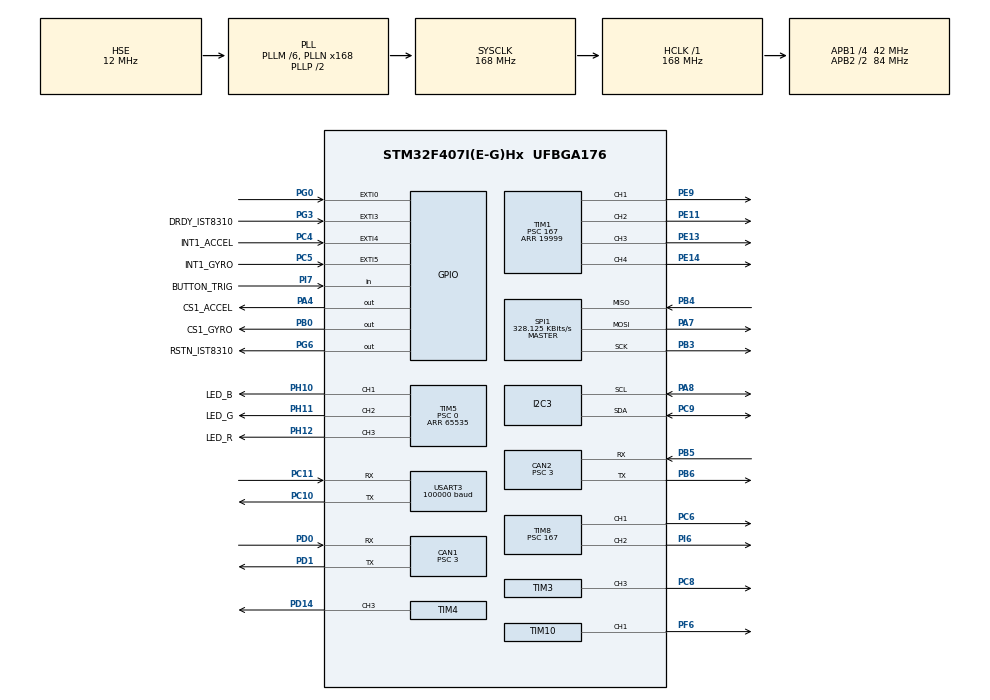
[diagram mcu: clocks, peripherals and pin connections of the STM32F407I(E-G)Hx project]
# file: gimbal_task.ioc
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CAN1.BS1=CAN_BS1_10TQ
CAN1.BS2=CAN_BS2_3TQ
CAN1.CalculateTimeQuantum=71.42857142857143
CAN1.Prescaler=3
CAN2.BS1=CAN_BS1_10TQ
CAN2.BS2=CAN_BS2_3TQ
CAN2.CalculateTimeQuantum=71.42857142857143
CAN2.Prescaler=3
Dma.Request0=SPI1_RX
Dma.Request1=SPI1_TX
Dma.Request2=USART3_RX
Dma.SPI1_RX.0.Direction=DMA_PERIPH_TO_MEMORY
Dma.SPI1_RX.0.FIFOMode=DMA_FIFOMODE_DISABLE
Dma.SPI1_RX.0.Instance=DMA2_Stream2
Dma.SPI1_RX.0.MemDataAlignment=DMA_MDATAALIGN_BYTE
Dma.SPI1_RX.0.MemInc=DMA_MINC_ENABLE
Dma.SPI1_RX.0.Mode=DMA_NORMAL
Dma.SPI1_RX.0.PeriphDataAlignment=DMA_PDATAALIGN_BYTE
Dma.SPI1_RX.0.PeriphInc=DMA_PINC_DISABLE
Dma.SPI1_RX.0.Priority=DMA_PRIORITY_VERY_HIGH
Dma.SPI1_TX.1.Direction=DMA_MEMORY_TO_PERIPH
Dma.SPI1_TX.1.FIFOMode=DMA_FIFOMODE_DISABLE
Dma.SPI1_TX.1.Instance=DMA2_Stream3
Dma.SPI1_TX.1.MemDataAlignment=DMA_MDATAALIGN_BYTE
Dma.SPI1_TX.1.MemInc=DMA_MINC_ENABLE
Dma.SPI1_TX.1.Mode=DMA_NORMAL
Dma.SPI1_TX.1.PeriphDataAlignment=DMA_PDATAALIGN_BYTE
Dma.SPI1_TX.1.PeriphInc=DMA_PINC_DISABLE
Dma.SPI1_TX.1.Priority=DMA_PRIORITY_HIGH
Dma.USART3_RX.2.Direction=DMA_PERIPH_TO_MEMORY
Dma.USART3_RX.2.FIFOMode=DMA_FIFOMODE_DISABLE
Dma.USART3_RX.2.Instance=DMA1_Stream1
Dma.USART3_RX.2.MemDataAlignment=DMA_MDATAALIGN_BYTE
Dma.USART3_RX.2.MemInc=DMA_MINC_ENABLE
Dma.USART3_RX.2.Mode=DMA_NORMAL
Dma.USART3_RX.2.PeriphDataAlignment=DMA_PDATAALIGN_BYTE
Dma.USART3_RX.2.PeriphInc=DMA_PINC_DISABLE
Dma.USART3_RX.2.Priority=DMA_PRIORITY_HIGH
FREERTOS.INCLUDE_eTaskGetState=1
FREERTOS.INCLUDE_pcTaskGetTaskName=1
FREERTOS.INCLUDE_uxTaskGetStackHighWaterMark=1
FREERTOS.INCLUDE_vTaskCleanUpResources=1
FREERTOS.INCLUDE_vTaskDelayUntil=1
FREERTOS.INCLUDE_xEventGroupSetBitFromISR=1
FREERTOS.INCLUDE_xQueueGetMutexHolder=1
FREERTOS.INCLUDE_xSemaphoreGetMutexHolder=1
FREERTOS.INCLUDE_xTaskAbortDelay=1
FREERTOS.INCLUDE_xTaskGetCurrentTaskHandle=1
FREERTOS.INCLUDE_xTaskGetHandle=1
FREERTOS.INCLUDE_xTimerPendFunctionCall=1
FREERTOS.Tasks01=test,24,128,test_task,As weak,NULL,Dynamic,NULL,NULL
FREERTOS.configTOTAL_HEAP_SIZE=24576
I2C3.I2C_Mode=I2C_Fast
Mcu.Family=STM32F4
Mcu.Name=STM32F407I(E-G)Hx
Mcu.Package=UFBGA176
NVIC.CAN1_RX0_IRQn=true\:6\:0\:true\:false\:true\:true\:true\:true
NVIC.CAN2_RX0_IRQn=true\:6\:0\:true\:false\:true\:true\:true\:true
NVIC.DMA1_Stream1_IRQn=true\:5\:0\:true\:false\:false\:true\:false\:false
NVIC.DMA2_Stream2_IRQn=true\:5\:0\:true\:false\:false\:true\:false\:true
NVIC.DMA2_Stream3_IRQn=true\:5\:0\:true\:false\:false\:true\:false\:true
NVIC.EXTI0_IRQn=true\:6\:0\:true\:false\:true\:true\:true\:true
NVIC.EXTI3_IRQn=true\:5\:0\:true\:false\:true\:true\:true\:true
NVIC.EXTI4_IRQn=true\:5\:0\:true\:false\:true\:true\:true\:true
NVIC.EXTI9_5_IRQn=true\:5\:0\:true\:false\:true\:true\:true\:true
NVIC.PriorityGroup=NVIC_PRIORITYGROUP_4
NVIC.USART3_IRQn=true\:4\:0\:true\:false\:false\:false\:true\:true
PA13.Mode=Serial_Wire
PA13.Signal=SYS_JTMS-SWDIO
PA14.Mode=Serial_Wire
PA14.Signal=SYS_JTCK-SWCLK
PA4.GPIO_Label=CS1_ACCEL
PA4.GPIO_PuPd=GPIO_PULLUP
PA4.GPIO_Speed=GPIO_SPEED_FREQ_HIGH
PA4.PinState=GPIO_PIN_SET
PA4.Signal=GPIO_Output
PA7.GPIO_PuPd=GPIO_PULLUP
PA7.Mode=Full_Duplex_Master
PA7.Signal=SPI1_MOSI
PA8.Mode=I2C
PA8.Signal=I2C3_SCL
PB0.GPIO_Label=CS1_GYRO
PB0.GPIO_PuPd=GPIO_PULLUP
PB0.GPIO_Speed=GPIO_SPEED_FREQ_HIGH
PB0.PinState=GPIO_PIN_SET
PB0.Signal=GPIO_Output
PB3.GPIO_PuPd=GPIO_PULLUP
PB3.Mode=Full_Duplex_Master
PB3.Signal=SPI1_SCK
PB4.GPIO_PuPd=GPIO_PULLUP
PB4.Mode=Full_Duplex_Master
PB4.Signal=SPI1_MISO
PB5.Mode=Slave
PB5.Signal=CAN2_RX
PB6.Mode=Slave
PB6.Signal=CAN2_TX
PC10.Mode=Asynchronous
PC10.Signal=USART3_TX
PC11.Mode=Asynchronous
PC11.Signal=USART3_RX
PC4.GPIO_Label=INT1_ACCEL
PC4.GPIO_ModeDefaultEXTI=GPIO_MODE_IT_FALLING
PC4.GPIO_PuPd=GPIO_PULLUP
PC4.Signal=GPXTI4
PC5.GPIO_Label=INT1_GYRO
PC5.GPIO_ModeDefaultEXTI=GPIO_MODE_IT_FALLING
PC5.GPIO_PuPd=GPIO_PULLUP
PC5.Signal=GPXTI5
PC6.GPIO_PuPd=GPIO_PULLUP
PC6.GPIO_Speed=GPIO_SPEED_FREQ_HIGH
PC6.Signal=S_TIM8_CH1
PC8.GPIO_PuPd=GPIO_PULLUP
PC8.GPIO_Speed=GPIO_SPEED_FREQ_HIGH
PC8.Signal=S_TIM3_CH3
PC9.Mode=I2C
PC9.Signal=I2C3_SDA
PD0.Mode=Master
PD0.Signal=CAN1_RX
PD1.Mode=Master
PD1.Signal=CAN1_TX
PD14.GPIO_Speed=GPIO_SPEED_FREQ_HIGH
PD14.Signal=S_TIM4_CH3
PE11.GPIO_PuPd=GPIO_PULLUP
PE11.GPIO_Speed=GPIO_SPEED_FREQ_HIGH
PE11.Signal=S_TIM1_CH2
PE13.GPIO_PuPd=GPIO_PULLUP
PE13.GPIO_Speed=GPIO_SPEED_FREQ_HIGH
PE13.Signal=S_TIM1_CH3
PE14.GPIO_PuPd=GPIO_PULLUP
PE14.GPIO_Speed=GPIO_SPEED_FREQ_HIGH
PE14.Signal=S_TIM1_CH4
PE9.GPIO_PuPd=GPIO_PULLUP
PE9.GPIO_Speed=GPIO_SPEED_FREQ_HIGH
PE9.Signal=S_TIM1_CH1
PF6.GPIO_PuPd=GPIO_PULLUP
PF6.GPIO_Speed=GPIO_SPEED_FREQ_HIGH
PF6.Signal=S_TIM10_CH1
PG0.GPIO_ModeDefaultEXTI=GPIO_MODE_IT_FALLING
PG0.GPIO_PuPd=GPIO_PULLUP
PG0.Signal=GPXTI0
PG3.GPIO_Label=DRDY_IST8310
PG3.GPIO_ModeDefaultEXTI=GPIO_MODE_IT_FALLING
PG3.GPIO_PuPd=GPIO_PULLUP
PG3.Signal=GPXTI3
PG6.GPIO_Label=RSTN_IST8310
PG6.GPIO_PuPd=GPIO_PULLUP
PG6.GPIO_Speed=GPIO_SPEED_FREQ_MEDIUM
PG6.PinState=GPIO_PIN_SET
PG6.Signal=GPIO_Output
PH0-OSC_IN.Mode=HSE-External-Oscillator
PH0-OSC_IN.Signal=RCC_OSC_IN
PH1-OSC_OUT.Mode=HSE-External-Oscillator
PH1-OSC_OUT.Signal=RCC_OSC_OUT
PH10.GPIO_Label=LED_B
PH10.GPIO_PuPd=GPIO_PULLUP
PH10.GPIO_Speed=GPIO_SPEED_FREQ_HIGH
PH10.Signal=S_TIM5_CH1
PH11.GPIO_Label=LED_G
PH11.GPIO_PuPd=GPIO_PULLUP
PH11.GPIO_Speed=GPIO_SPEED_FREQ_HIGH
PH11.Signal=S_TIM5_CH2
PH12.GPIO_Label=LED_R
PH12.GPIO_PuPd=GPIO_PULLUP
PH12.GPIO_Speed=GPIO_SPEED_FREQ_HIGH
PH12.Signal=S_TIM5_CH3
PI6.GPIO_PuPd=GPIO_PULLUP
PI6.GPIO_Speed=GPIO_SPEED_FREQ_HIGH
PI6.Signal=S_TIM8_CH2
PI7.GPIO_Label=BUTTON_TRIG
PI7.GPIO_PuPd=GPIO_PULLUP
PI7.Signal=GPIO_Input
ProjectManager.HeapSize=0x2000
ProjectManager.StackSize=0x2000
ProjectManager.TargetToolchain=MDK-ARM V5
RCC.48MHZClocksFreq_Value=48000000
RCC.AHBFreq_Value=168000000
RCC.APB1CLKDivider=RCC_HCLK_DIV4
RCC.APB1Freq_Value=42000000
RCC.APB1TimFreq_Value=84000000
RCC.APB2CLKDivider=RCC_HCLK_DIV2
RCC.APB2Freq_Value=84000000
RCC.APB2TimFreq_Value=168000000
RCC.CortexFreq_Value=168000000
RCC.HCLKFreq_Value=168000000
RCC.HSE_VALUE=12000000
RCC.HSI_VALUE=16000000
RCC.LSE_VALUE=32768
RCC.PLLM=6
RCC.PLLN=168
RCC.PLLQ=7
RCC.PLLSourceVirtual=RCC_PLLSOURCE_HSE
RCC.RCC_RTC_Clock_SourceVirtual=RCC_RTCCLKSOURCE_HSE_DIV30
RCC.RCC_RTC_Clock_Source_FROM_HSE=RCC_RTCCLKSOURCE_HSE_DIV30
RCC.SYSCLKFreq_VALUE=168000000
RCC.SYSCLKSource=RCC_SYSCLKSOURCE_PLLCLK
RCC.VCOOutputFreq_Value=336000000
RTC.AsynchPrediv=124
RTC.SynchPrediv=3199
SH.S_TIM10_CH1.0=TIM10_CH1,PWM Generation1 CH1
SH.S_TIM1_CH1.0=TIM1_CH1,PWM Generation1 CH1
SH.S_TIM1_CH2.0=TIM1_CH2,PWM Generation2 CH2
SH.S_TIM1_CH3.0=TIM1_CH3,PWM Generation3 CH3
SH.S_TIM1_CH4.0=TIM1_CH4,PWM Generation4 CH4
SH.S_TIM3_CH3.0=TIM3_CH3,PWM Generation3 CH3
SH.S_TIM4_CH3.0=TIM4_CH3,PWM Generation3 CH3
SH.S_TIM5_CH1.0=TIM5_CH1,PWM Generation1 CH1
SH.S_TIM5_CH2.0=TIM5_CH2,PWM Generation2 CH2
SH.S_TIM5_CH3.0=TIM5_CH3,PWM Generation3 CH3
SH.S_TIM8_CH1.0=TIM8_CH1,PWM Generation1 CH1
SH.S_TIM8_CH2.0=TIM8_CH2,PWM Generation2 CH2
SPI1.BaudRatePrescaler=SPI_BAUDRATEPRESCALER_256
SPI1.CLKPhase=SPI_PHASE_2EDGE
SPI1.CLKPolarity=SPI_POLARITY_HIGH
SPI1.CalculateBaudRate=328.125 KBits/s
SPI1.Direction=SPI_DIRECTION_2LINES
SPI1.Mode=SPI_MODE_MASTER
SPI1.VirtualType=VM_MASTER
TIM1.Channel-PWM\ Generation1\ CH1=TIM_CHANNEL_1
TIM1.Channel-PWM\ Generation2\ CH2=TIM_CHANNEL_2
TIM1.Channel-PWM\ Generation3\ CH3=TIM_CHANNEL_3
TIM1.Channel-PWM\ Generation4\ CH4=TIM_CHANNEL_4
TIM1.Period=19999
TIM1.Prescaler=167
TIM1.Pulse-PWM\ Generation1\ CH1=1000
TIM1.Pulse-PWM\ Generation2\ CH2=1000
TIM1.Pulse-PWM\ Generation3\ CH3=1000
TIM1.Pulse-PWM\ Generation4\ CH4=1000
TIM10.Channel=TIM_CHANNEL_1
TIM10.Period=4999
TIM3.Channel-PWM\ Generation3\ CH3=TIM_CHANNEL_3
TIM3.Period=8399
TIM4.Channel-PWM\ Generation3\ CH3=TIM_CHANNEL_3
TIM4.Period=65535
TIM4.Prescaler=167
TIM4.Pulse-PWM\ Generation3\ CH3=1000
TIM5.Channel-PWM\ Generation1\ CH1=TIM_CHANNEL_1
TIM5.Channel-PWM\ Generation2\ CH2=TIM_CHANNEL_2
TIM5.Channel-PWM\ Generation3\ CH3=TIM_CHANNEL_3
TIM5.Period=65535
TIM5.Prescaler=0
TIM8.Channel-PWM\ Generation1\ CH1=TIM_CHANNEL_1
TIM8.Channel-PWM\ Generation2\ CH2=TIM_CHANNEL_2
TIM8.Period=19999
TIM8.Prescaler=167
TIM8.Pulse-PWM\ Generation1\ CH1=1000
TIM8.Pulse-PWM\ Generation2\ CH2=1000
USART3.BaudRate=100000
USART3.Parity=PARITY_EVEN
USART3.VirtualMode=VM_ASYNC
VP_FREERTOS_VS_CMSIS_V1.Mode=CMSIS_V1
VP_RTC_VS_RTC_Activate.Mode=RTC_Enabled
VP_TIM10_VS_ClockSourceINT.Mode=Enable_Timer
VP_TIM1_VS_ClockSourceINT.Mode=Internal
VP_TIM3_VS_ClockSourceINT.Mode=Internal
VP_TIM4_VS_ClockSourceINT.Mode=Internal
VP_TIM5_VS_ClockSourceINT.Mode=Internal
VP_TIM8_VS_ClockSourceINT.Mode=Internal
board=custom

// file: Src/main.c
/* USER CODE BEGIN Header */
/**
  ******************************************************************************
  * @file           : main.c
  * @brief          : Main program body
  ******************************************************************************
  * @attention
  *
  * <h2><center>&copy; Copyright (c) 2019 STMicroelectronics.
  * All rights reserved.</center></h2>
  *
  * This software component is licensed by ST under Ultimate Liberty license
  * SLA0044, the "License"; You may not use this file except in compliance with
  * the License. You may obtain a copy of the License at:
  *                             www.st.com/SLA0044
  *
  ******************************************************************************
  */
/* USER CODE END Header */

#include "main.h"
#include "cmsis_os.h"
#include "can.h"
#include "dma.h"
#include "i2c.h"
#include "rtc.h"
#include "spi.h"
#include "tim.h"
#include "usart.h"
#include "gpio.h"

/* USER CODE BEGIN Includes */
#include "bsp_can.h"
#include "bsp_delay.h"
#include "remote_control.h"

#include "calibrate_task.h"
#include "detect_task.h"
#include "gimbal_task.h"
#include "INS_task.h"
#include "led_flow_task.h"
/* USER CODE END Includes */

void SystemClock_Config(void);
void MX_FREERTOS_Init(void);

int main(void)
{

  /* MCU Configuration--------------------------------------------------------*/

  /* Reset of all peripherals, Initializes the Flash interface and the Systick. */
  HAL_Init();

  /* Configure the system clock */
  SystemClock_Config();

  /* Initialize all configured peripherals */
  MX_GPIO_Init();
  MX_DMA_Init();
  MX_CAN1_Init();
  MX_CAN2_Init();
  MX_SPI1_Init();
  MX_TIM4_Init();
  MX_TIM5_Init();
  MX_USART3_UART_Init();
  MX_TIM8_Init();
  MX_I2C3_Init();
  MX_RTC_Init();
  MX_TIM1_Init();
  MX_TIM3_Init();
  MX_TIM10_Init();
  /* USER CODE BEGIN 2 */
    can_filter_init();
    delay_init();
    cali_param_init();
    remote_control_init();
  /* USER CODE END 2 */

  /* Call init function for freertos objects (in freertos.c) */
  MX_FREERTOS_Init();

  /* Start scheduler */
  osKernelStart();

  /* We should never get here as control is now taken by the scheduler */

  /* Infinite loop */
  while (1)
  {

  }
}

void SystemClock_Config(void)
{
  RCC_OscInitTypeDef RCC_OscInitStruct = {0};
  RCC_ClkInitTypeDef RCC_ClkInitStruct = {0};
  RCC_PeriphCLKInitTypeDef PeriphClkInitStruct = {0};

  /** Configure the main internal regulator output voltage
  */
  __HAL_RCC_PWR_CLK_ENABLE();
  __HAL_PWR_VOLTAGESCALING_CONFIG(PWR_REGULATOR_VOLTAGE_SCALE1);
  /** Initializes the CPU, AHB and APB busses clocks
  */
  RCC_OscInitStruct.OscillatorType = RCC_OSCILLATORTYPE_HSE;
  RCC_OscInitStruct.HSEState = RCC_HSE_ON;
  RCC_OscInitStruct.PLL.PLLState = RCC_PLL_ON;
  RCC_OscInitStruct.PLL.PLLSource = RCC_PLLSOURCE_HSE;
  RCC_OscInitStruct.PLL.PLLM = 6;
  RCC_OscInitStruct.PLL.PLLN = 168;
  RCC_OscInitStruct.PLL.PLLP = RCC_PLLP_DIV2;
  RCC_OscInitStruct.PLL.PLLQ = 7;
  if (HAL_RCC_OscConfig(&RCC_OscInitStruct) != HAL_OK)
  {
    Error_Handler();
  }
  /** Initializes the CPU, AHB and APB busses clocks
  */
  RCC_ClkInitStruct.ClockType = RCC_CLOCKTYPE_HCLK|RCC_CLOCKTYPE_SYSCLK
                              |RCC_CLOCKTYPE_PCLK1|RCC_CLOCKTYPE_PCLK2;
  RCC_ClkInitStruct.SYSCLKSource = RCC_SYSCLKSOURCE_PLLCLK;
  RCC_ClkInitStruct.AHBCLKDivider = RCC_SYSCLK_DIV1;
  RCC_ClkInitStruct.APB1CLKDivider = RCC_HCLK_DIV4;
  RCC_ClkInitStruct.APB2CLKDivider = RCC_HCLK_DIV2;

  if (HAL_RCC_ClockConfig(&RCC_ClkInitStruct, FLASH_LATENCY_5) != HAL_OK)
  {
    Error_Handler();
  }
  PeriphClkInitStruct.PeriphClockSelection = RCC_PERIPHCLK_RTC;
  PeriphClkInitStruct.RTCClockSelection = RCC_RTCCLKSOURCE_HSE_DIV30;
  if (HAL_RCCEx_PeriphCLKConfig(&PeriphClkInitStruct) != HAL_OK)
  {
    Error_Handler();
  }
}

void Error_Handler(void)
{
}

/************************ (C) COPYRIGHT STMicroelectronics *****END OF FILE****/

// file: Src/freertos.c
/* USER CODE BEGIN Header */
/**
  ******************************************************************************
  * File Name          : freertos.c
  * Description        : Code for freertos applications
  ******************************************************************************
  * @attention
  *
  * <h2><center>&copy; Copyright (c) 2019 STMicroelectronics.
  * All rights reserved.</center></h2>
  *
  * This software component is licensed by ST under Ultimate Liberty license
  * SLA0044, the "License"; You may not use this file except in compliance with
  * the License. You may obtain a copy of the License at:
  *                             www.st.com/SLA0044
  *
  ******************************************************************************
  */
/* USER CODE END Header */

#include "FreeRTOS.h"
#include "task.h"
#include "main.h"
#include "cmsis_os.h"

/* USER CODE BEGIN Includes */

#include "calibrate_task.h"
#include "detect_task.h"
#include "gimbal_task.h"
#include "INS_task.h"
#include "led_flow_task.h"
/* USER CODE END Includes */

/* USER CODE BEGIN PTD */

osThreadId calibrate_tast_handle;
osThreadId detect_handle;
osThreadId gimbalTaskHandle;
osThreadId imuTaskHandle;
osThreadId led_RGB_flow_handle;

/* USER CODE END PTD */

osThreadId testHandle;

void test_task(void const * argument);

void MX_FREERTOS_Init(void); /* (MISRA C 2004 rule 8.1) */

/* GetIdleTaskMemory prototype (linked to static allocation support) */
void vApplicationGetIdleTaskMemory( StaticTask_t **ppxIdleTaskTCBBuffer, StackType_t **ppxIdleTaskStackBuffer, uint32_t *pulIdleTaskStackSize );

/* GetTimerTaskMemory prototype (linked to static allocation support) */
void vApplicationGetTimerTaskMemory( StaticTask_t **ppxTimerTaskTCBBuffer, StackType_t **ppxTimerTaskStackBuffer, uint32_t *pulTimerTaskStackSize );

/* USER CODE BEGIN GET_IDLE_TASK_MEMORY */
static StaticTask_t xIdleTaskTCBBuffer;
static StackType_t xIdleStack[configMINIMAL_STACK_SIZE];

void vApplicationGetIdleTaskMemory( StaticTask_t **ppxIdleTaskTCBBuffer, StackType_t **ppxIdleTaskStackBuffer, uint32_t *pulIdleTaskStackSize )
{
  *ppxIdleTaskTCBBuffer = &xIdleTaskTCBBuffer;
  *ppxIdleTaskStackBuffer = &xIdleStack[0];
  *pulIdleTaskStackSize = configMINIMAL_STACK_SIZE;
  /* place for user code */
}
/* USER CODE END GET_IDLE_TASK_MEMORY */

/* USER CODE BEGIN GET_TIMER_TASK_MEMORY */
static StaticTask_t xTimerTaskTCBBuffer;
static StackType_t xTimerStack[configTIMER_TASK_STACK_DEPTH];

void vApplicationGetTimerTaskMemory( StaticTask_t **ppxTimerTaskTCBBuffer, StackType_t **ppxTimerTaskStackBuffer, uint32_t *pulTimerTaskStackSize )
{
  *ppxTimerTaskTCBBuffer = &xTimerTaskTCBBuffer;
  *ppxTimerTaskStackBuffer = &xTimerStack[0];
  *pulTimerTaskStackSize = configTIMER_TASK_STACK_DEPTH;
  /* place for user code */
}
/* USER CODE END GET_TIMER_TASK_MEMORY */

void MX_FREERTOS_Init(void) {

  /* Create the thread(s) */
  /* definition and creation of test */
  osThreadDef(test, test_task, osPriorityNormal, 0, 128);
  testHandle = osThreadCreate(osThread(test), NULL);

  /* USER CODE BEGIN RTOS_THREADS */
  /* add threads, ... */
    osThreadDef(cali, calibrate_task, osPriorityNormal, 0, 512);
    calibrate_tast_handle = osThreadCreate(osThread(cali), NULL);

    osThreadDef(DETECT, detect_task, osPriorityNormal, 0, 256);
    detect_handle = osThreadCreate(osThread(DETECT), NULL);

    osThreadDef(gimbalTask, gimbal_task, osPriorityHigh, 0, 512);
    gimbalTaskHandle = osThreadCreate(osThread(gimbalTask), NULL);

    osThreadDef(imuTask, INS_task, osPriorityRealtime, 0, 1024);
    imuTaskHandle = osThreadCreate(osThread(imuTask), NULL);

    osThreadDef(led, led_RGB_flow_task, osPriorityNormal, 0, 256);
    led_RGB_flow_handle = osThreadCreate(osThread(led), NULL);

  /* USER CODE END RTOS_THREADS */

}

__weak void test_task(void const * argument)
{

  for(;;)
  {
    osDelay(1);
  }
}

/************************ (C) COPYRIGHT STMicroelectronics *****END OF FILE****/
